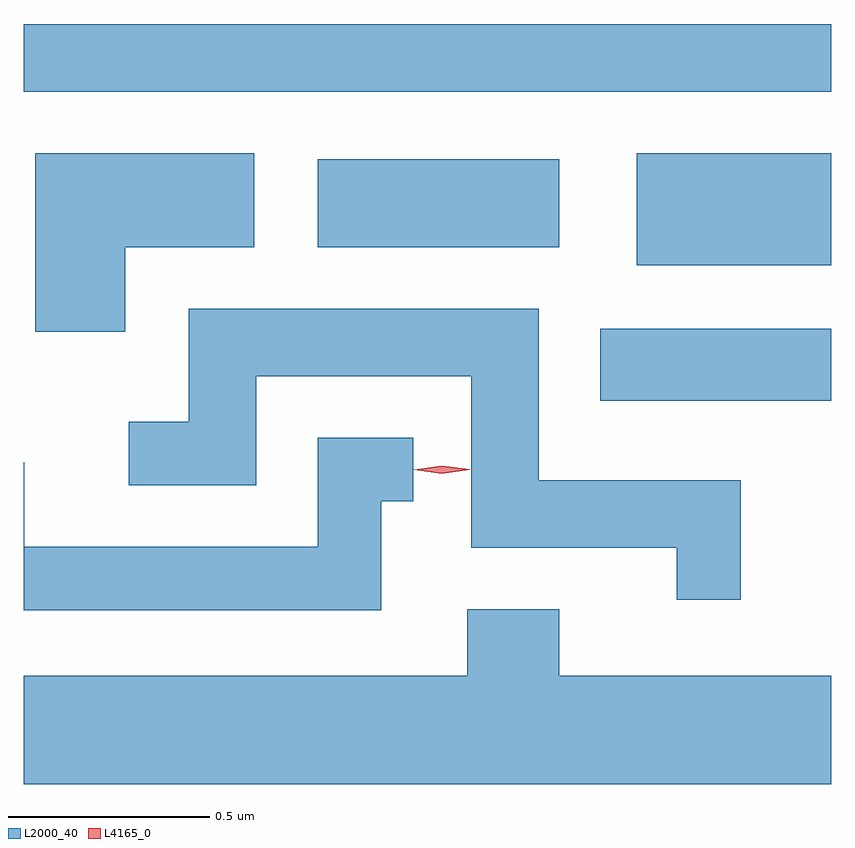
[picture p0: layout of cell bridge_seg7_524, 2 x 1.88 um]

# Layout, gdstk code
import gdstk
lib = gdstk.Library(unit=1e-6, precision=1e-09)
def R(c, l, rs):  # rectangles x0, y0, x1, y1
    for r in rs: c.add(gdstk.rectangle(r[:2], r[2:], *l))
def P(c, l, *ps):  # polygons
    for p in ps: c.add(gdstk.Polygon(p, *l))
L2000_40 = (2000, 40)
L4165_0 = (4165, 0)

bridge_seg7_524 = lib.new_cell('bridge_seg7_524')
R(bridge_seg7_524, L2000_40, [(1342.291,1728.586,1342.863,1728.764), (1342.381,1728.921,1342.863,1729.199), (1341.591,1728.966,1342.189,1729.184), (1340.863,1729.351,1342.863,1729.519)])
P(bridge_seg7_524, L2000_40, [(1341.114,1728.966),(1341.434,1728.966),(1341.434,1729.199),(1340.891,1729.199),(1340.891,1728.756),(1341.114,1728.756)],
  [(1342.639,1728.389),(1342.139,1728.389),(1342.139,1728.814),(1341.271,1728.814),(1341.271,1728.534),(1341.123,1728.534),(1341.123,1728.376),(1341.439,1728.376),(1341.439,1728.646),(1341.971,1728.646),(1341.971,1728.221),(1342.481,1728.221),(1342.481,1728.093),(1342.639,1728.093)],
  [(1341.749,1728.336),(1341.828,1728.336),(1341.828,1728.494),(1341.591,1728.494),(1341.591,1728.224),(1340.864,1728.224),(1340.864,1728.433),(1340.863,1728.433),(1340.863,1728.066),(1341.749,1728.066)],
  [(1342.863,1727.904),(1342.189,1727.904),(1342.189,1728.069),(1341.961,1728.069),(1341.961,1727.904),(1340.863,1727.904),(1340.863,1727.636),(1342.863,1727.636)])
P(bridge_seg7_524, L4165_0, [(1341.898,1728.405),(1341.829,1728.414),(1341.829,1728.415),(1341.829,1728.415),(1341.898,1728.425),(1341.968,1728.416),(1341.968,1728.416),(1341.968,1728.415)])

lib.write_gds('bridge_seg7_524.gds')
